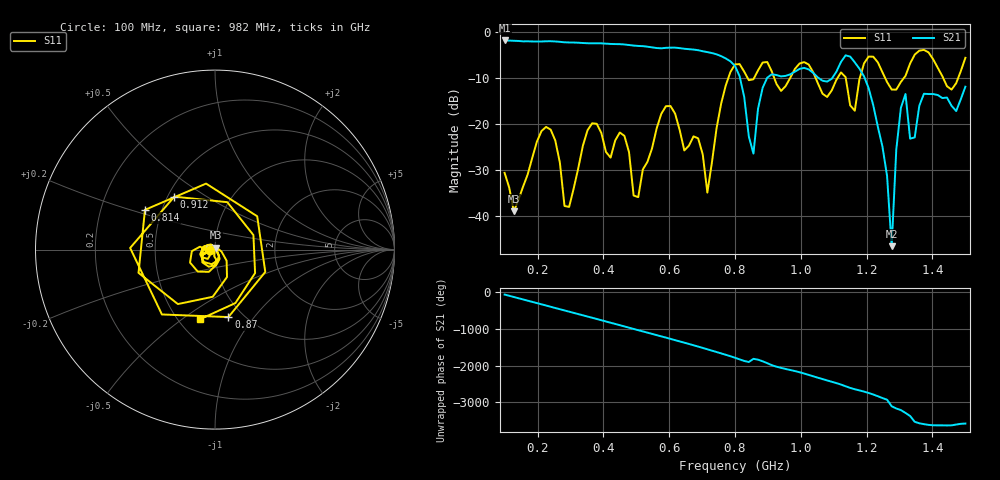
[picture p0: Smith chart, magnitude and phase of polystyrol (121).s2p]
! NanoVNA-App
! Date: 2025-09-25 15:30:50
! Start: 100MHz Stop: 1,5GHz Points: 101
! S-Parameter data: F S11 S21 S12 S22
# Hz S RI R 50
!  Frequency  S11_Real  S11_Imag  S21_Real  S21_Imag  S12_Real  S12_Imag  S22_Real  S22_Imag
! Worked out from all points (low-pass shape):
!   101 points, 100 MHz to 1.5 GHz, reference 50 ohm
!   highest |S21| = -1.80 dB at 100 MHz (marker M1); lowest = -46.7 dB at 1.276 GHz (marker M2)
!   |S21| within 3 dB of the highest: start of sweep to 742.6 MHz
!   lowest |S11| = -39.1 dB at 128 MHz (marker M3), VSWR 1.02, Z = 50.3 + j1.06 ohm
!   |S11| at or under -10 dB: start of sweep to 779.7 MHz; 1.045 GHz to 1.111 GHz (66.4 MHz wide, 6.16 % of centre); 1.256 GHz to 1.313 GHz (56.68 MHz wide, 4.41 % of centre) (the widest 3 of 7)
!   S12 and S22 are empty: the file has one direction only
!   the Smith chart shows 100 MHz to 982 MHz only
!   S11 on the Smith chart (normalised r, x): 100 MHz: 0.94, -0.01; 814 MHz: 0.40, +0.22; 870 MHz: 0.86, -0.75; 912 MHz: 0.54, +0.37; 982 MHz: 0.63, -0.59
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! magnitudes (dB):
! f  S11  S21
! 100 MHz  -30.7  -1.8
! 128 MHz  -39.1  -1.9
! 212 MHz  -21.6  -2.0
! 282 MHz  -37.9  -2.2
! 338 MHz  -24.7  -2.4
! 464 MHz  -22.6  -2.7
! 506 MHz  -36.0  -3.0
! 576 MHz  -17.8  -3.5
! 716 MHz  -35.0  -4.3
! 800 MHz  -7.0  -7.4
! 814 MHz  -7.0  -9.6
! 856 MHz  -10.3  -26.5
! 870 MHz  -8.3  -16.7
! 912 MHz  -8.6  -9.2
! 982 MHz  -8.0  -8.6
! 1.038 GHz  -8.8  -8.9
! 1.164 GHz  -17.1  -6.6
! 1.192 GHz  -6.8  -9.6
! 1.276 GHz  -12.5  -46.7
! 1.29 GHz  -12.5  -25.6
! 1.318 GHz  -9.5  -13.5
! 1.5 GHz  -5.6  -11.9
